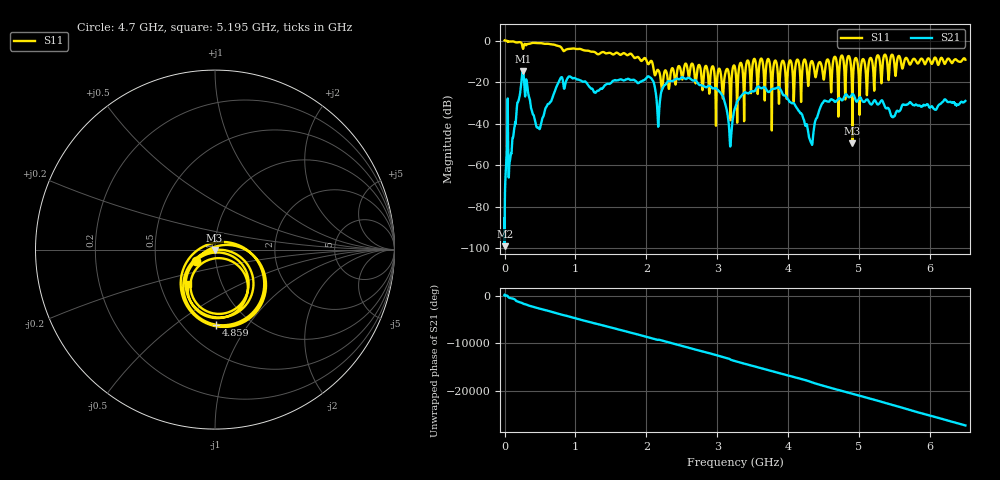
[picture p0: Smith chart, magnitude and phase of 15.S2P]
!Keysight Technologies,E5063A,MY54503115,A.05.08
!Date: Mon Mar 04 15:42:48 2024
!Data & Calibration Information:
!Freq	S11:NONE(--)	S21:NONE(--)	S12:NONE(--)	S22:NONE(--)
# Hz S dB R 50
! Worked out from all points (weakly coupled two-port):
!   10001 points, 100 kHz to 6.5 GHz, reference 50 ohm
!   highest |S21| = -14.58 dB at 260.7 MHz (marker M1); lowest = -98.9 dB at 750 kHz (marker M2)
!   lowest |S11| = -49.4 dB at 4.906 GHz (marker M3), VSWR 1.01, Z = 49.8 - j0.255 ohm
!   |S11| at or under -10 dB: 2.076 GHz to 3.419 GHz (1.343 GHz wide, 48.9 % of centre); 3.828 GHz to 3.915 GHz (86.93 MHz wide, 2.25 % of centre); 4.34 GHz to 4.54 GHz (200.2 MHz wide, 4.51 % of centre) (the widest 3 of 31)
!   S12 and S22 are empty: the file has one direction only
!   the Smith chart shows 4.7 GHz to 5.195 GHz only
!   S11 on the Smith chart (normalised r, x): 4.7 GHz: 0.80, -0.10; 4.859 GHz: 0.71, -0.72; 5.195 GHz: 0.69, -0.28
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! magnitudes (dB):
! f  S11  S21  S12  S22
! 100 kHz  0.1  -85.4  -  -
! 750 kHz  0.0  -98.9  -  -
! 39.1 MHz  -0.2  -45.2  -  -
! 260.7 MHz  -4.0  -14.6  -  -
! 475.9 MHz  -1.2  -41.9  -  -
! 784.6 MHz  -2.9  -18.4  -  -
! 1.084 GHz  -4.2  -19.4  -  -
! 2.042 GHz  -10.8  -17.5  -  -
! 2.167 GHz  -14.2  -41.4  -  -
! 2.512 GHz  -18.0  -17.7  -  -
! 3.028 GHz  -13.5  -24.5  -  -
! 3.184 GHz  -31.5  -51.0  -  -
! 3.25 GHz  -13.0  -32.5  -  -
! 3.864 GHz  -23.0  -22.4  -  -
! 4.334 GHz  -9.9  -49.9  -  -
! 4.485 GHz  -14.9  -30.1  -  -
! 4.7 GHz  -18.1  -28.4  -  -
! 4.859 GHz  -7.6  -27.3  -  -
! 4.906 GHz  -49.4  -25.7  -  -
! 5.195 GHz  -12.3  -30.0  -  -
! 5.417 GHz  -19.0  -32.7  -  -
! 6.5 GHz  -9.2  -29.0  -  -
